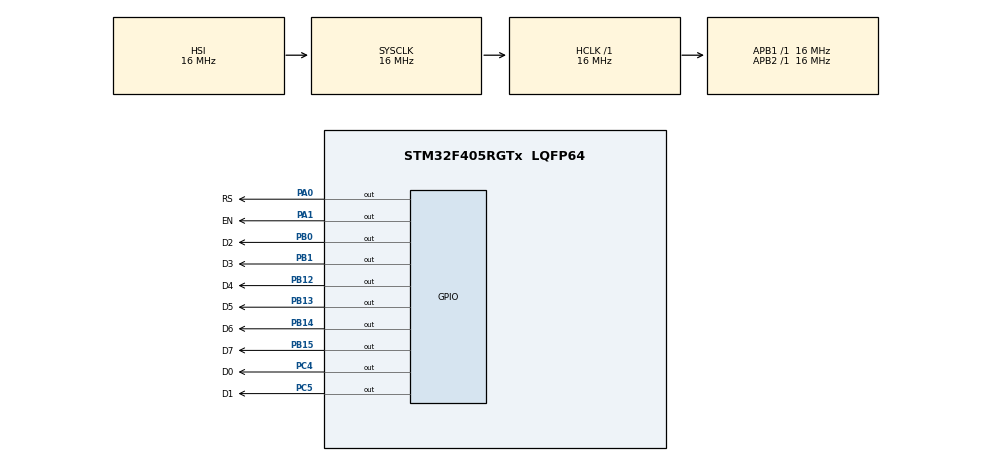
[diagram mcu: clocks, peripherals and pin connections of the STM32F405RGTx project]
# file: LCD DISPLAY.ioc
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Mcu.Family=STM32F4
Mcu.Name=STM32F405RGTx
Mcu.Package=LQFP64
NVIC.PriorityGroup=NVIC_PRIORITYGROUP_4
PA0-WKUP.GPIO_Label=RS
PA0-WKUP.Signal=GPIO_Output
PA1.GPIO_Label=EN
PA1.Signal=GPIO_Output
PA13.Mode=Serial_Wire
PA13.Signal=SYS_JTMS-SWDIO
PA14.Mode=Serial_Wire
PA14.Signal=SYS_JTCK-SWCLK
PB0.GPIO_Label=D2
PB0.Signal=GPIO_Output
PB1.GPIO_Label=D3
PB1.Signal=GPIO_Output
PB12.GPIO_Label=D4
PB12.Signal=GPIO_Output
PB13.GPIO_Label=D5
PB13.Signal=GPIO_Output
PB14.GPIO_Label=D6
PB14.Signal=GPIO_Output
PB15.GPIO_Label=D7
PB15.Signal=GPIO_Output
PC14-OSC32_IN.Mode=LSE-External-Oscillator
PC14-OSC32_IN.Signal=RCC_OSC32_IN
PC15-OSC32_OUT.Mode=LSE-External-Oscillator
PC15-OSC32_OUT.Signal=RCC_OSC32_OUT
PC4.GPIO_Label=D0
PC4.Signal=GPIO_Output
PC5.GPIO_Label=D1
PC5.Signal=GPIO_Output
PH0-OSC_IN.Mode=HSE-External-Oscillator
PH0-OSC_IN.Signal=RCC_OSC_IN
PH1-OSC_OUT.Mode=HSE-External-Oscillator
PH1-OSC_OUT.Signal=RCC_OSC_OUT
ProjectManager.HeapSize=0x200
ProjectManager.StackSize=0x400
ProjectManager.TargetToolchain=STM32CubeIDE
RCC.AHBFreq_Value=16000000
RCC.APB1Freq_Value=16000000
RCC.APB2Freq_Value=16000000
RCC.CortexFreq_Value=16000000
RCC.HSE_VALUE=25000000
RCC.HSI_VALUE=16000000
RCC.SYSCLKFreq_VALUE=16000000
RCC.VCOOutputFreq_Value=192000000
board=custom

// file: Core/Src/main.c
/* USER CODE BEGIN Header */
/**
  ******************************************************************************
  * @file           : main.c
  * @brief          : Main program body
  ******************************************************************************
  * @attention
  *
  * Copyright (c) 2023 STMicroelectronics.
  * All rights reserved.
  *
  * This software is licensed under terms that can be found in the LICENSE file
  * in the root directory of this software component.
  * If no LICENSE file comes with this software, it is provided AS-IS.
  *
  ******************************************************************************
  */
/* USER CODE END Header */
#include "main.h"

void SystemClock_Config(void);
static void MX_GPIO_Init(void);
void LCDinit(void);
void cmd(unsigned char y);
void Data(unsigned char z);
void input(unsigned char *x);

int main(void)
{

  /* MCU Configuration--------------------------------------------------------*/

  /* Reset of all peripherals, Initializes the Flash interface and the Systick. */
  HAL_Init();

  /* Configure the system clock */
  SystemClock_Config();

  /* Initialize all configured peripherals */
  MX_GPIO_Init();
  /* USER CODE BEGIN 2 */

  LCDinit();
  /* USER CODE END 2 */

  /* Infinite loop */
  /* USER CODE BEGIN WHILE */
  while (1)
  {

     cmd(0x85 );
     input("SHRI");
     cmd(0x07);
     HAL_Delay(25);
     cmd(0xC3);
     input("HARAN");

    /* USER CODE END WHILE */

  }
}

void SystemClock_Config(void)
{
  RCC_OscInitTypeDef RCC_OscInitStruct = {0};
  RCC_ClkInitTypeDef RCC_ClkInitStruct = {0};

  /** Configure the main internal regulator output voltage
  */
  __HAL_RCC_PWR_CLK_ENABLE();
  __HAL_PWR_VOLTAGESCALING_CONFIG(PWR_REGULATOR_VOLTAGE_SCALE1);

  /** Initializes the RCC Oscillators according to the specified parameters
  * in the RCC_OscInitTypeDef structure.
  */
  RCC_OscInitStruct.OscillatorType = RCC_OSCILLATORTYPE_HSI;
  RCC_OscInitStruct.HSIState = RCC_HSI_ON;
  RCC_OscInitStruct.HSICalibrationValue = RCC_HSICALIBRATION_DEFAULT;
  RCC_OscInitStruct.PLL.PLLState = RCC_PLL_NONE;
  if (HAL_RCC_OscConfig(&RCC_OscInitStruct) != HAL_OK)
  {
    Error_Handler();
  }

  /** Initializes the CPU, AHB and APB buses clocks
  */
  RCC_ClkInitStruct.ClockType = RCC_CLOCKTYPE_HCLK|RCC_CLOCKTYPE_SYSCLK
                              |RCC_CLOCKTYPE_PCLK1|RCC_CLOCKTYPE_PCLK2;
  RCC_ClkInitStruct.SYSCLKSource = RCC_SYSCLKSOURCE_HSI;
  RCC_ClkInitStruct.AHBCLKDivider = RCC_SYSCLK_DIV1;
  RCC_ClkInitStruct.APB1CLKDivider = RCC_HCLK_DIV1;
  RCC_ClkInitStruct.APB2CLKDivider = RCC_HCLK_DIV1;

  if (HAL_RCC_ClockConfig(&RCC_ClkInitStruct, FLASH_LATENCY_0) != HAL_OK)
  {
    Error_Handler();
  }
}

static void MX_GPIO_Init(void)
{
  GPIO_InitTypeDef GPIO_InitStruct = {0};

  /* GPIO Ports Clock Enable */
  __HAL_RCC_GPIOC_CLK_ENABLE();
  __HAL_RCC_GPIOH_CLK_ENABLE();
  __HAL_RCC_GPIOA_CLK_ENABLE();
  __HAL_RCC_GPIOB_CLK_ENABLE();

  /*Configure GPIO pin Output Level */
  HAL_GPIO_WritePin(GPIOA, RS_Pin|EN_Pin, GPIO_PIN_RESET);

  /*Configure GPIO pin Output Level */
  HAL_GPIO_WritePin(GPIOC, D0_Pin|D1_Pin, GPIO_PIN_RESET);

  /*Configure GPIO pin Output Level */
  HAL_GPIO_WritePin(GPIOB, D2_Pin|D3_Pin|D4_Pin|D5_Pin
                          |D6_Pin|D7_Pin, GPIO_PIN_RESET);

  /*Configure GPIO pins : RS_Pin EN_Pin */
  GPIO_InitStruct.Pin = RS_Pin|EN_Pin;
  GPIO_InitStruct.Mode = GPIO_MODE_OUTPUT_PP;
  GPIO_InitStruct.Pull = GPIO_NOPULL;
  GPIO_InitStruct.Speed = GPIO_SPEED_FREQ_LOW;
  HAL_GPIO_Init(GPIOA, &GPIO_InitStruct);

  /*Configure GPIO pins : D0_Pin D1_Pin */
  GPIO_InitStruct.Pin = D0_Pin|D1_Pin;
  GPIO_InitStruct.Mode = GPIO_MODE_OUTPUT_PP;
  GPIO_InitStruct.Pull = GPIO_NOPULL;
  GPIO_InitStruct.Speed = GPIO_SPEED_FREQ_LOW;
  HAL_GPIO_Init(GPIOC, &GPIO_InitStruct);

  /*Configure GPIO pins : D2_Pin D3_Pin D4_Pin D5_Pin
                           D6_Pin D7_Pin */
  GPIO_InitStruct.Pin = D2_Pin|D3_Pin|D4_Pin|D5_Pin
                          |D6_Pin|D7_Pin;
  GPIO_InitStruct.Mode = GPIO_MODE_OUTPUT_PP;
  GPIO_InitStruct.Pull = GPIO_NOPULL;
  GPIO_InitStruct.Speed = GPIO_SPEED_FREQ_LOW;
  HAL_GPIO_Init(GPIOB, &GPIO_InitStruct);

}

/* USER CODE BEGIN 4 */

void LCDinit()
{

	cmd(0x01);
	cmd(0x38);
	cmd(0x0E);
}
void cmd(unsigned char y)
{
	 HAL_GPIO_WritePin(GPIOA, RS_Pin,0);
	 HAL_GPIO_WritePin(GPIOB, D7_Pin,(y & 0x80));
	 HAL_GPIO_WritePin(GPIOB, D6_Pin,(y & 0x40));
	 HAL_GPIO_WritePin(GPIOB, D5_Pin,(y & 0x20));
	 HAL_GPIO_WritePin(GPIOB, D4_Pin,(y & 0x10));
	 HAL_GPIO_WritePin(GPIOB, D3_Pin,(y & 0x08));
	 HAL_GPIO_WritePin(GPIOB, D2_Pin,(y & 0x04));
	 HAL_GPIO_WritePin(GPIOC, D1_Pin,(y & 0x02));
	 HAL_GPIO_WritePin(GPIOC, D0_Pin,(y & 0x01));
	 HAL_GPIO_WritePin(GPIOA, EN_Pin,1);
	 HAL_Delay(20);
	 HAL_GPIO_WritePin(GPIOA, EN_Pin,0);
	 HAL_Delay(20);

}
void input(unsigned char *x)
{
	while(*x)
	{
		Data(*x++);
		HAL_Delay(20);
	}
}
void Data(unsigned char z)
{
	     HAL_GPIO_WritePin(GPIOA, RS_Pin,1);
		 HAL_GPIO_WritePin(GPIOB, D7_Pin,(z & 0x80));
		 HAL_GPIO_WritePin(GPIOB, D6_Pin,(z & 0x40));
		 HAL_GPIO_WritePin(GPIOB, D5_Pin,(z & 0x20));
		 HAL_GPIO_WritePin(GPIOB, D4_Pin,(z & 0x10));
		 HAL_GPIO_WritePin(GPIOB, D3_Pin,(z & 0x08));
		 HAL_GPIO_WritePin(GPIOB, D2_Pin,(z & 0x04));
		 HAL_GPIO_WritePin(GPIOC, D1_Pin,(z & 0x02));
		 HAL_GPIO_WritePin(GPIOC, D0_Pin,(z & 0x01));
		 HAL_GPIO_WritePin(GPIOA, EN_Pin,1);
		 HAL_Delay(20);
		 HAL_GPIO_WritePin(GPIOA, EN_Pin,0);
		 HAL_Delay(20);
}

/* USER CODE END 4 */

void Error_Handler(void)
{
  __disable_irq();
  while (1)
  {
  }
}
